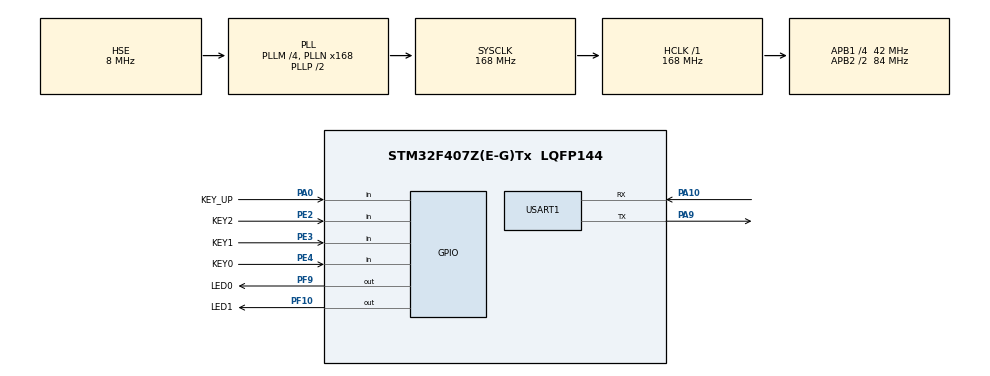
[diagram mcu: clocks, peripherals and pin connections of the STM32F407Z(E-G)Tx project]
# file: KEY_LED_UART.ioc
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Mcu.Family=STM32F4
Mcu.Name=STM32F407Z(E-G)Tx
Mcu.Package=LQFP144
NVIC.PriorityGroup=NVIC_PRIORITYGROUP_4
PA0-WKUP.GPIO_Label=KEY_UP
PA0-WKUP.GPIO_PuPd=GPIO_PULLDOWN
PA0-WKUP.Signal=GPIO_Input
PA10.Mode=Asynchronous
PA10.Signal=USART1_RX
PA9.Mode=Asynchronous
PA9.Signal=USART1_TX
PC14-OSC32_IN.Mode=LSE-External-Oscillator
PC14-OSC32_IN.Signal=RCC_OSC32_IN
PC15-OSC32_OUT.Mode=LSE-External-Oscillator
PC15-OSC32_OUT.Signal=RCC_OSC32_OUT
PE2.GPIO_Label=KEY2
PE2.GPIO_PuPd=GPIO_PULLUP
PE2.Signal=GPIO_Input
PE3.GPIO_Label=KEY1
PE3.GPIO_PuPd=GPIO_PULLUP
PE3.Signal=GPIO_Input
PE4.GPIO_Label=KEY0
PE4.GPIO_PuPd=GPIO_PULLUP
PE4.Signal=GPIO_Input
PF10.GPIO_Label=LED1
PF10.GPIO_Speed=GPIO_SPEED_FREQ_LOW
PF10.Signal=GPIO_Output
PF9.GPIO_Label=LED0
PF9.Signal=GPIO_Output
PH0-OSC_IN.Mode=HSE-External-Oscillator
PH0-OSC_IN.Signal=RCC_OSC_IN
PH1-OSC_OUT.Mode=HSE-External-Oscillator
PH1-OSC_OUT.Signal=RCC_OSC_OUT
ProjectManager.HeapSize=0x200
ProjectManager.StackSize=0x400
ProjectManager.TargetToolchain=Makefile
RCC.48MHZClocksFreq_Value=84000000
RCC.AHBFreq_Value=168000000
RCC.APB1CLKDivider=RCC_HCLK_DIV4
RCC.APB1Freq_Value=42000000
RCC.APB1TimFreq_Value=84000000
RCC.APB2CLKDivider=RCC_HCLK_DIV2
RCC.APB2Freq_Value=84000000
RCC.APB2TimFreq_Value=168000000
RCC.CortexFreq_Value=168000000
RCC.HCLKFreq_Value=168000000
RCC.HSE_VALUE=8000000
RCC.HSI_VALUE=16000000
RCC.PLLM=4
RCC.PLLN=168
RCC.PLLSourceVirtual=RCC_PLLSOURCE_HSE
RCC.SYSCLKFreq_VALUE=168000000
RCC.SYSCLKSource=RCC_SYSCLKSOURCE_PLLCLK
RCC.VCOOutputFreq_Value=336000000
USART1.VirtualMode=VM_ASYNC
board=custom

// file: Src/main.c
/* USER CODE BEGIN Header */
/**
  ******************************************************************************
  * @file           : main.c
  * @brief          : Main program body
  ******************************************************************************
  * @attention
  *
  * <h2><center>&copy; Copyright (c) 2020 STMicroelectronics.
  * All rights reserved.</center></h2>
  *
  * This software component is licensed by ST under BSD 3-Clause license,
  * the "License"; You may not use this file except in compliance with the
  * License. You may obtain a copy of the License at:
  *                        opensource.org/licenses/BSD-3-Clause
  *
  ******************************************************************************
  */
/* USER CODE END Header */

#include "main.h"
#include "usart.h"
#include "gpio.h"

/* USER CODE BEGIN Includes */
#include "key.h"
#include <stdio.h>
/* USER CODE END Includes */

void SystemClock_Config(void);

/* USER CODE BEGIN 0 */
int fputc(int ch, FILE* stream)
{
    HAL_UART_Transmit(&huart1 , (unsigned char *)&ch, 1, 0xFFFF);
    return ch;
}
/* USER CODE END 0 */

int main(void)
{
  /* USER CODE BEGIN 1 */
  unsigned char  key;
  /* USER CODE END 1 */

  /* MCU Configuration--------------------------------------------------------*/

  /* Reset of all peripherals, Initializes the Flash interface and the Systick. */
  HAL_Init();

  /* Configure the system clock */
  SystemClock_Config();

  /* Initialize all configured peripherals */
  MX_GPIO_Init();
  MX_USART1_UART_Init();

  /* Infinite loop */
  while (1)
  {

    /* USER CODE BEGIN 3 */
    key=KEY_Scan(0);
    if(key==KEY0_PRES)
	{
          HAL_GPIO_WritePin(LED0_GPIO_Port,LED0_Pin,GPIO_PIN_RESET);
	   HAL_UART_Transmit(&huart1, "I am Chinese\r\n", sizeof("I am Chinese\r\n"), 0xFFFF);
	   printf("点亮LED0\r\n");
	}
    else if(key==KEY1_PRES)
	{
          HAL_GPIO_WritePin(LED1_GPIO_Port,LED1_Pin,GPIO_PIN_RESET);
	   printf("点亮LED1\r\n");
	}
    else if(key==KEY2_PRES)
	{
          HAL_GPIO_WritePin(LED0_GPIO_Port,LED0_Pin,GPIO_PIN_SET);
	   HAL_GPIO_WritePin(LED1_GPIO_Port,LED1_Pin,GPIO_PIN_SET);
	   printf("熄灭所有LED灯\r\n");
	}
    else if(key==WKUP_PRES)
	{
          HAL_GPIO_TogglePin(LED0_GPIO_Port,LED0_Pin);
	   HAL_GPIO_TogglePin(LED1_GPIO_Port,LED1_Pin);
	   printf("改变LED灯的状态\r\n");
	}
  }
  /* USER CODE END 3 */
}

void SystemClock_Config(void)
{
  RCC_OscInitTypeDef RCC_OscInitStruct = {0};
  RCC_ClkInitTypeDef RCC_ClkInitStruct = {0};

  /** Configure the main internal regulator output voltage
  */
  __HAL_RCC_PWR_CLK_ENABLE();
  __HAL_PWR_VOLTAGESCALING_CONFIG(PWR_REGULATOR_VOLTAGE_SCALE1);
  /** Initializes the CPU, AHB and APB busses clocks
  */
  RCC_OscInitStruct.OscillatorType = RCC_OSCILLATORTYPE_HSE;
  RCC_OscInitStruct.HSEState = RCC_HSE_ON;
  RCC_OscInitStruct.PLL.PLLState = RCC_PLL_ON;
  RCC_OscInitStruct.PLL.PLLSource = RCC_PLLSOURCE_HSE;
  RCC_OscInitStruct.PLL.PLLM = 4;
  RCC_OscInitStruct.PLL.PLLN = 168;
  RCC_OscInitStruct.PLL.PLLP = RCC_PLLP_DIV2;
  RCC_OscInitStruct.PLL.PLLQ = 4;
  if (HAL_RCC_OscConfig(&RCC_OscInitStruct) != HAL_OK)
  {
    Error_Handler();
  }
  /** Initializes the CPU, AHB and APB busses clocks
  */
  RCC_ClkInitStruct.ClockType = RCC_CLOCKTYPE_HCLK|RCC_CLOCKTYPE_SYSCLK
                              |RCC_CLOCKTYPE_PCLK1|RCC_CLOCKTYPE_PCLK2;
  RCC_ClkInitStruct.SYSCLKSource = RCC_SYSCLKSOURCE_PLLCLK;
  RCC_ClkInitStruct.AHBCLKDivider = RCC_SYSCLK_DIV1;
  RCC_ClkInitStruct.APB1CLKDivider = RCC_HCLK_DIV4;
  RCC_ClkInitStruct.APB2CLKDivider = RCC_HCLK_DIV2;

  if (HAL_RCC_ClockConfig(&RCC_ClkInitStruct, FLASH_LATENCY_5) != HAL_OK)
  {
    Error_Handler();
  }
}

void Error_Handler(void)
{
}

/************************ (C) COPYRIGHT STMicroelectronics *****END OF FILE****/
